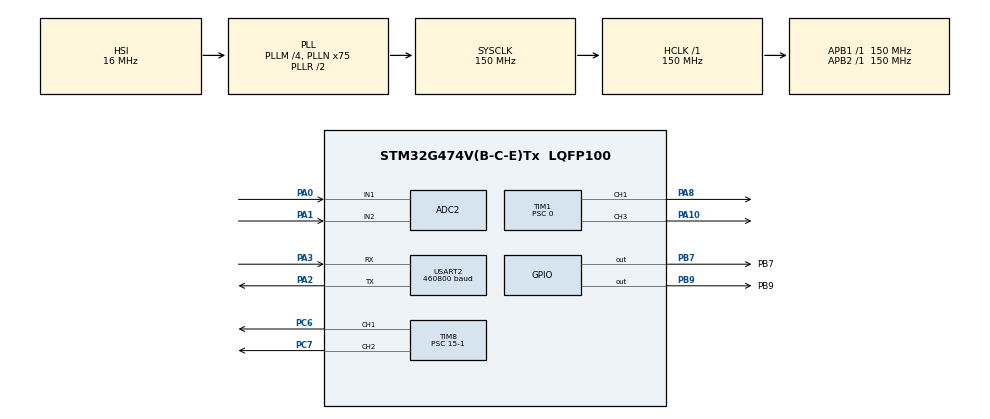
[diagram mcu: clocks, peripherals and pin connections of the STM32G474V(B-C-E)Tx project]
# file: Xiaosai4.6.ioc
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ADC2.Channel-3\#ChannelRegularConversion=ADC_CHANNEL_1
ADC2.Channel-4\#ChannelRegularConversion=ADC_CHANNEL_2
ADC2.DMAContinuousRequests=ENABLE
ADC2.EOCSelection=ADC_EOC_SEQ_CONV
ADC2.ExternalTrigConv=ADC_EXTERNALTRIG_T4_TRGO
ADC2.NbrOfConversion=2
ADC2.NbrOfConversionFlag=1
ADC2.OffsetNumber-3\#ChannelRegularConversion=ADC_OFFSET_NONE
ADC2.OffsetNumber-4\#ChannelRegularConversion=ADC_OFFSET_NONE
ADC2.Rank-3\#ChannelRegularConversion=1
ADC2.Rank-4\#ChannelRegularConversion=2
ADC2.SamplingTime-3\#ChannelRegularConversion=ADC_SAMPLETIME_12CYCLES_5
ADC2.SamplingTime-4\#ChannelRegularConversion=ADC_SAMPLETIME_12CYCLES_5
Dma.ADC2.0.Direction=DMA_PERIPH_TO_MEMORY
Dma.ADC2.0.EventEnable=DISABLE
Dma.ADC2.0.Instance=DMA1_Channel1
Dma.ADC2.0.MemDataAlignment=DMA_MDATAALIGN_HALFWORD
Dma.ADC2.0.MemInc=DMA_MINC_ENABLE
Dma.ADC2.0.Mode=DMA_CIRCULAR
Dma.ADC2.0.PeriphDataAlignment=DMA_PDATAALIGN_HALFWORD
Dma.ADC2.0.PeriphInc=DMA_PINC_DISABLE
Dma.ADC2.0.Polarity=HAL_DMAMUX_REQ_GEN_RISING
Dma.ADC2.0.Priority=DMA_PRIORITY_LOW
Dma.ADC2.0.RequestNumber=1
Dma.ADC2.0.SignalID=NONE
Dma.ADC2.0.SyncEnable=DISABLE
Dma.ADC2.0.SyncPolarity=HAL_DMAMUX_SYNC_NO_EVENT
Dma.ADC2.0.SyncRequestNumber=1
Dma.ADC2.0.SyncSignalID=NONE
Dma.Request0=ADC2
Mcu.Family=STM32G4
Mcu.Name=STM32G474V(B-C-E)Tx
Mcu.Package=LQFP100
NVIC.PriorityGroup=NVIC_PRIORITYGROUP_4
NVIC.TIM4_IRQn=true\:0\:0\:false\:false\:true\:true\:true\:true
PA0.Mode=IN1-Single-Ended
PA0.Signal=ADC2_IN1
PA1.Mode=IN2-Single-Ended
PA1.Signal=ADC2_IN2
PA10.GPIO_Speed=GPIO_SPEED_FREQ_HIGH
PA10.Signal=S_TIM1_CH3
PA13.Mode=Serial_Wire
PA13.Signal=SYS_JTMS-SWDIO
PA14.Mode=Serial_Wire
PA14.Signal=SYS_JTCK-SWCLK
PA2.GPIO_Speed=GPIO_SPEED_FREQ_HIGH
PA2.Mode=Asynchronous
PA2.Signal=USART2_TX
PA3.GPIO_Speed=GPIO_SPEED_FREQ_HIGH
PA3.Mode=Asynchronous
PA3.Signal=USART2_RX
PA8.GPIO_Speed=GPIO_SPEED_FREQ_HIGH
PA8.Signal=S_TIM1_CH1
PB7.GPIO_Label=PB7
PB7.GPIO_Speed=GPIO_SPEED_FREQ_HIGH
PB7.PinState=GPIO_PIN_RESET
PB7.Signal=GPIO_Output
PB9.GPIO_FM9=__NULL
PB9.GPIO_Label=PB9
PB9.GPIO_ModeDefaultOutputPP=GPIO_MODE_OUTPUT_OD
PB9.GPIO_PuPd=GPIO_NOPULL
PB9.GPIO_Speed=GPIO_SPEED_FREQ_HIGH
PB9.Signal=GPIO_Output
PC6.GPIO_Speed=GPIO_SPEED_FREQ_HIGH
PC6.Signal=S_TIM8_CH1
PC7.GPIO_Speed=GPIO_SPEED_FREQ_HIGH
PC7.Signal=S_TIM8_CH2
PF0-OSC_IN.Mode=HSE-External-Oscillator
PF0-OSC_IN.Signal=RCC_OSC_IN
PF1-OSC_OUT.Mode=HSE-External-Oscillator
PF1-OSC_OUT.Signal=RCC_OSC_OUT
ProjectManager.HeapSize=0x200
ProjectManager.StackSize=0x400
ProjectManager.TargetToolchain=MDK-ARM V5.32
RCC.ADC12Freq_Value=150000000
RCC.ADC345Freq_Value=150000000
RCC.AHBFreq_Value=150000000
RCC.APB1Freq_Value=150000000
RCC.APB1TimFreq_Value=150000000
RCC.APB2Freq_Value=150000000
RCC.APB2TimFreq_Value=150000000
RCC.CortexFreq_Value=150000000
RCC.EXTERNAL_CLOCK_VALUE=12288000
RCC.HCLKFreq_Value=150000000
RCC.HSE_VALUE=8000000
RCC.HSI48_VALUE=48000000
RCC.HSI_VALUE=16000000
RCC.LSE_VALUE=32768
RCC.PLLM=RCC_PLLM_DIV4
RCC.PLLN=75
RCC.SYSCLKFreq_VALUE=150000000
RCC.SYSCLKSource=RCC_SYSCLKSOURCE_PLLCLK
RCC.USBFreq_Value=150000000
RCC.VCOOutputFreq_Value=300000000
SH.S_TIM1_CH1.0=TIM1_CH1,PWM Generation1 CH1
SH.S_TIM1_CH3.0=TIM1_CH3,PWM Generation3 CH3
SH.S_TIM8_CH1.0=TIM8_CH1,PWM Generation1 CH1
SH.S_TIM8_CH2.0=TIM8_CH2,PWM Generation2 CH2
STMicroelectronics.X-CUBE-ALGOBUILD.1.4.0.LibraryCcDSPOoLibraryJjDSPOoLibrary=true
TIM1.AutoReloadPreload=TIM_AUTORELOAD_PRELOAD_ENABLE
TIM1.Channel-PWM\ Generation1\ CH1=TIM_CHANNEL_1
TIM1.Channel-PWM\ Generation3\ CH3=TIM_CHANNEL_3
TIM1.CounterMode=TIM_COUNTERMODE_CENTERALIGNED1
TIM1.PeriodNoDither=3750-1
TIM1.Prescaler=0
TIM1.PulseNoDither_1=1875-1
TIM1.PulseNoDither_3=1875-1
TIM4.AutoReloadPreload=TIM_AUTORELOAD_PRELOAD_ENABLE
TIM4.PeriodNoDither=100-1
TIM4.Prescaler=75-1
TIM4.TIM_MasterOutputTrigger=TIM_TRGO_RESET
TIM8.AutoReloadPreload=TIM_AUTORELOAD_PRELOAD_ENABLE
TIM8.Channel-PWM\ Generation1\ CH1=TIM_CHANNEL_1
TIM8.Channel-PWM\ Generation2\ CH2=TIM_CHANNEL_2
TIM8.CounterMode=TIM_COUNTERMODE_CENTERALIGNED1
TIM8.PeriodNoDither=500-1
TIM8.Prescaler=15-1
TIM8.PulseNoDither_1=250
TIM8.PulseNoDither_2=250
USART2.BaudRate=460800
USART2.Mode=MODE_TX_RX
USART2.VirtualMode-Asynchronous=VM_ASYNC
VP_STMicroelectronics.X-CUBE-ALGOBUILD_VS_DSPOoLibraryJjLibrary_1.4.0_1.4.0.Mode=DSPOoLibraryJjLibrary
VP_SYS_VS_DBSignals.Mode=DisableDeadBatterySignals
VP_TIM1_VS_ClockSourceINT.Mode=Internal
VP_TIM4_VS_ClockSourceINT.Mode=Internal
VP_TIM8_VS_ClockSourceINT.Mode=Internal
board=custom

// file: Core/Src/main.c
/* USER CODE BEGIN Header */
/**
  ******************************************************************************
  * @file           : main.c
  * @brief          : Main program body
  ******************************************************************************
  * @attention
  *
  * Copyright (c) 2026 STMicroelectronics.
  * All rights reserved.
  *
  * This software is licensed under terms that can be found in the LICENSE file
  * in the root directory of this software component.
  * If no LICENSE file comes with this software, it is provided AS-IS.
  *
  ******************************************************************************
  */
/* USER CODE END Header */
#include "main.h"
#include "adc.h"
#include "dma.h"
#include "tim.h"
#include "usart.h"
#include "gpio.h"

/* USER CODE BEGIN Includes */
#include "OLED.h"
#include "SPWM.h"
#include "hhPID.h"
#include "measure.h"
#include "arm_math.h"
#include "hqpr.h"
#include <stdio.h>
/* USER CODE END Includes */

/* USER CODE BEGIN PD */

// 工频参数
#define F0      50.0f		//工频50Hz
#define W0      2*3.1415926f*F0
#define WC      10.0f    // PR谐振带宽
#define Ts      0.00005f // 20kHz 50us

// ==================== PWM 调制度范围 ====================
#define PWM_MAX   800   // 调制度上限
#define PWM_MIN   100       // 调制度下限
#define PWM_MID   500     // 中点（正弦波上下调制）

/* USER CODE END PD */

/* USER CODE BEGIN PV */

//ADC2------------
/*命名说明：
ADC_开头的是ADC的数字量0-4095
U_ I_开头的是换算后的电压电流值
*/
QPR_TypeDef  Voltage_QPR;   // 电压外环
QPR_TypeDef  Current_QPR;   // 电流内环

uint16_t AD_Value[2];//DMA转移的ADC值
extern uint8_t protect_status;  //具体怎么用？

const float VOLTAGE_RATIO = 20.07f; // 电压变比系数  (根据实际硬件调整)
const float CURRENT_RATIO = 0.05f; // 电流互感器比例 (根据实际硬件调整)

float U_fb;      // ADC 采样输出电压
float I_fb;      // ADC 采样输出电流

uint16_t i;    //for循环软启动

extern float inverter_duty;

//USART2-------------------
//float V_real_raw = 0.0f;
//float I_real_raw = 0.0f;
//float I_calibrated = 0.0f;//校准后实际负载电流值

float Theta = 0.0f;       // 相位角
float U_amp = 25.4f;     // 18V有效值对应的幅值

//OLED
char str[50];  // 存放浮点数转化的字符串
/* USER CODE END PV */

void SystemClock_Config(void);

/* USER CODE BEGIN 0 */
// 在20kHz中断最开头调用

float Generate_U_Ref(void)
{
    // 相位步进：w0 * Ts
    Theta += W0 * Ts;

    // 相位限幅 0~2PI
    if(Theta >= 2*PI)
        Theta -= 2*PI;

    // 瞬时电压给定
    return U_amp * sinf(Theta);
}

//USART2+VOFA+-----------------
void Serial_SendFloat(float data)
{
    uint8_t *bytes = (uint8_t*)&data;
    for(int i = 0; i < 4; i++) {
        hhSerialSendByte(bytes[i]);
    }

    hhSerialSendByte(0x00);
    hhSerialSendByte(0x00);
    hhSerialSendByte(0x80);
    hhSerialSendByte(0x7F);
}

/* USER CODE END 0 */

int main(void)
{

  /* MCU Configuration--------------------------------------------------------*/

  /* Reset of all peripherals, Initializes the Flash interface and the Systick. */
  HAL_Init();

  /* USER CODE BEGIN Init */
	OLED_Init();
	OLED_Clear();

  // ==================== 电流内环（先整定）====================
	// 标准最优参数：Kp=0.6，Kr=40，wc=10
//	QPR_Init(&Current_QPR, 0.6f,  40.0f, WC, W0);

	// ==================== 电压外环（后整定）====================
	// 标准最优参数：Kp=1.2，Kr=80，wc=10
//	QPR_Init(&Voltage_QPR, 1.2f,  80.0f, WC, W0);

  /* USER CODE END Init */

  /* Configure the system clock */
  SystemClock_Config();

  /* Initialize all configured peripherals */
  MX_GPIO_Init();
  MX_DMA_Init();
  MX_ADC2_Init();
  MX_TIM4_Init();
  MX_USART2_UART_Init();
  MX_TIM1_Init();
  MX_TIM8_Init();
  /* USER CODE BEGIN 2 */

		//TIM4_50us20khz--------------------------------------
	__HAL_TIM_CLEAR_FLAG(&htim4,TIM_FLAG_UPDATE);
	HAL_TIM_Base_Start_IT(&htim4);

	//TIM8+TIM1+SPWM--------------------------
    //	HAL_TIM_PWM_Start(&htim8,TIM_CHANNEL_1);
	//	HAL_TIM_PWM_Start(&htim8,TIM_CHANNEL_2);
		HAL_TIM_PWM_Start(&htim1,TIM_CHANNEL_1);
		HAL_TIM_PWM_Start(&htim1,TIM_CHANNEL_3);

	//ADC2內部基准校准(+DMA)------------------------------------
	HAL_ADCEx_Calibration_Start(&hadc2,ADC_SINGLE_ENDED);

	/*ADC采样值通过dma传递到AD_Value[]数组，本函数只是开启DMA，其位置不影响采样速度
	要更改速度要在CUBEMX中设置触发源，目前设置成TIM4中断触发
	*/
	HAL_ADC_Start_DMA(&hadc2,(uint32_t*)&AD_Value, 2);

  //硬启动
	inverter_duty = 50;

//软启动，缓慢上升调制系数，调制系数为0
  inverter_duty = 50;
	for(i=1;i<= 920;i++)                 //缓慢上升调制系数
	  {
		  inverter_duty=i;
		  HAL_Delay(1);
	  }
i= 0;

  /* USER CODE END 2 */

  /* Infinite loop */
  while (1)
  {

    /* USER CODE BEGIN 3 */

		OLED_ShowString(1,1,"V_raw:");
		OLED_ShowString(2,1,"I_raw:");
		OLED_ShowNum(1,7,AD_Value[0],4);
		OLED_ShowNum(2,7,AD_Value[1],4);

		sprintf(str, "%.2f", U_fb);
		OLED_ShowString(3,1,str);
		OLED_ShowNum(4,1,inverter_duty,4);

		HAL_Delay(10);

//	//USART2+VOFA+--------------------------------
//	Serial_SendFloat();
//	Serial_SendFloat();
//	HAL_Delay(50);
//

  }
  /* USER CODE END 3 */
}

void SystemClock_Config(void)
{
  RCC_OscInitTypeDef RCC_OscInitStruct = {0};
  RCC_ClkInitTypeDef RCC_ClkInitStruct = {0};

  /** Configure the main internal regulator output voltage
  */
  HAL_PWREx_ControlVoltageScaling(PWR_REGULATOR_VOLTAGE_SCALE1);

  /** Initializes the RCC Oscillators according to the specified parameters
  * in the RCC_OscInitTypeDef structure.
  */
  RCC_OscInitStruct.OscillatorType = RCC_OSCILLATORTYPE_HSI;
  RCC_OscInitStruct.HSIState = RCC_HSI_ON;
  RCC_OscInitStruct.HSICalibrationValue = RCC_HSICALIBRATION_DEFAULT;
  RCC_OscInitStruct.PLL.PLLState = RCC_PLL_ON;
  RCC_OscInitStruct.PLL.PLLSource = RCC_PLLSOURCE_HSI;
  RCC_OscInitStruct.PLL.PLLM = RCC_PLLM_DIV4;
  RCC_OscInitStruct.PLL.PLLN = 75;
  RCC_OscInitStruct.PLL.PLLP = RCC_PLLP_DIV2;
  RCC_OscInitStruct.PLL.PLLQ = RCC_PLLQ_DIV2;
  RCC_OscInitStruct.PLL.PLLR = RCC_PLLR_DIV2;
  if (HAL_RCC_OscConfig(&RCC_OscInitStruct) != HAL_OK)
  {
    Error_Handler();
  }

  /** Initializes the CPU, AHB and APB buses clocks
  */
  RCC_ClkInitStruct.ClockType = RCC_CLOCKTYPE_HCLK|RCC_CLOCKTYPE_SYSCLK
                              |RCC_CLOCKTYPE_PCLK1|RCC_CLOCKTYPE_PCLK2;
  RCC_ClkInitStruct.SYSCLKSource = RCC_SYSCLKSOURCE_PLLCLK;
  RCC_ClkInitStruct.AHBCLKDivider = RCC_SYSCLK_DIV1;
  RCC_ClkInitStruct.APB1CLKDivider = RCC_HCLK_DIV1;
  RCC_ClkInitStruct.APB2CLKDivider = RCC_HCLK_DIV1;

  if (HAL_RCC_ClockConfig(&RCC_ClkInitStruct, FLASH_LATENCY_4) != HAL_OK)
  {
    Error_Handler();
  }
}

/* USER CODE BEGIN 4 */

//定时器中断，TIM4+SPWM----------
void HAL_TIM_PeriodElapsedCallback(TIM_HandleTypeDef *htim)
{
	//RMS计算
	static uint16_t count=0;
	count++;

	float U_ref;     // 电压正弦给定（Amp*sinθ）

	float I_ref;     // 电压环输出 = 电流给定
	float PWM_Out;   // 电流环输出 = 调制波

	if(htim==&htim4)
	{

		//SPWM启动-------------
		//inverter_spwm_T8_1();
		//inverter_spwm_T8_2();
		inverter_spwm_T1_1();
		inverter_spwm_T1_3();

		ADC_Data_Update();
		//RMS计算
//		AC_rms.V_rms = measure_rms(0, 100) * 0.00080586f * VOLTAGE_RATIO;  //使用电压通道和电压比例系数
//		AC_rms.I_rms = measure_rms(1, 100) * 0.00080586f * CURRENT_RATIO;  //使用电流通道和电流比例系数
		//相当于/ 4095.0f * 3.3f

		if(count > 400)
		{

			U_ref = Generate_U_Ref(); // 拿到瞬时正弦给定
			calculate_rms();
			//	瞬时值控制
			// ========== 1. 读取采样值（你只需改这两个函数）==========
			U_fb = get_voltage_sample();  // 你的电压采样函数
			I_fb = get_current_sample();  // 你的电流采样函数

			// ========== 2. 电压 QPR 外环 ==========
			I_ref = QPR_Calc(&Voltage_QPR, U_ref, U_fb, Ts);

			// ========== 电流限幅（必须加！）==========
			if(I_ref >  5.0f) I_ref =  5.0f;   // 根据你的电感/额定电流改
			if(I_ref < -5.0f) I_ref = -5.0f;

			// ========== 3. 电流 QPR 内环 ==========
			PWM_Out = QPR_Calc(&Current_QPR, I_ref, I_fb, Ts);

			// ========== 4. 调制波限幅 + 映射到 0~1000 ==========
			if(PWM_Out >  PWM_MAX) PWM_Out =  PWM_MAX;   // 正幅值
			if(PWM_Out < -PWM_MIN) PWM_Out = -PWM_MIN;   // 负幅值

			//uint16_t inverter_duty = (uint16_t)(PWM_MID + PWM_Out); // 100~900

			count = 410;
		}

		if(inverter_duty>=920)inverter_duty=920;
		if(inverter_duty<=200)inverter_duty=200;

		__HAL_TIM_CLEAR_FLAG(&htim4,TIM_FLAG_UPDATE);

	}

}
/* USER CODE END 4 */

void Error_Handler(void)
{
  __disable_irq();
  while (1)
  {
  }
}
